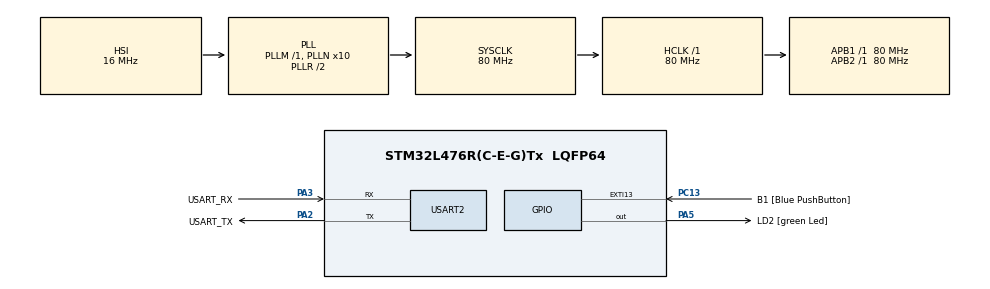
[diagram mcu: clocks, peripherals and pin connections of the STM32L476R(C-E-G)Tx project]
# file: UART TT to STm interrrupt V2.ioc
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Mcu.Family=STM32L4
Mcu.Name=STM32L476R(C-E-G)Tx
Mcu.Package=LQFP64
NVIC.PriorityGroup=NVIC_PRIORITYGROUP_4
PA13\ (JTMS-SWDIO).GPIO_Label=TMS
PA13\ (JTMS-SWDIO).Mode=Serial_Wire
PA13\ (JTMS-SWDIO).Signal=SYS_JTMS-SWDIO
PA14\ (JTCK-SWCLK).GPIO_Label=TCK
PA14\ (JTCK-SWCLK).Mode=Serial_Wire
PA14\ (JTCK-SWCLK).Signal=SYS_JTCK-SWCLK
PA2.GPIO_Label=USART_TX
PA2.GPIO_Mode=GPIO_MODE_AF_PP
PA2.GPIO_PuPd=GPIO_NOPULL
PA2.GPIO_Speed=GPIO_SPEED_FREQ_VERY_HIGH
PA2.Mode=Asynchronous
PA2.Signal=USART2_TX
PA3.GPIO_Label=USART_RX
PA3.GPIO_Mode=GPIO_MODE_AF_PP
PA3.GPIO_PuPd=GPIO_NOPULL
PA3.GPIO_Speed=GPIO_SPEED_FREQ_VERY_HIGH
PA3.Mode=Asynchronous
PA3.Signal=USART2_RX
PA5.GPIO_Label=LD2 [green Led]
PA5.GPIO_ModeDefaultOutputPP=GPIO_MODE_OUTPUT_PP
PA5.GPIO_PuPd=GPIO_NOPULL
PA5.GPIO_Speed=GPIO_SPEED_FREQ_LOW
PA5.Signal=GPIO_Output
PB3\ (JTDO-TRACESWO).GPIO_Label=SWO
PB3\ (JTDO-TRACESWO).Signal=SYS_JTDO-SWO
PC13.GPIO_Label=B1 [Blue PushButton]
PC13.GPIO_ModeDefaultEXTI=GPIO_MODE_IT_FALLING
PC13.GPIO_PuPd=GPIO_NOPULL
PC13.Signal=GPXTI13
PC14-OSC32_IN\ (PC14).Mode=LSE-External-Oscillator
PC14-OSC32_IN\ (PC14).Signal=RCC_OSC32_IN
PC15-OSC32_OUT\ (PC15).Mode=LSE-External-Oscillator
PC15-OSC32_OUT\ (PC15).Signal=RCC_OSC32_OUT
PH0-OSC_IN\ (PH0).Signal=RCC_OSC_IN
PH1-OSC_OUT\ (PH1).Signal=RCC_OSC_OUT
ProjectManager.HeapSize=0x200
ProjectManager.StackSize=0x400
ProjectManager.TargetToolchain=STM32CubeIDE
RCC.ADCFreq_Value=64000000
RCC.AHBFreq_Value=80000000
RCC.APB1Freq_Value=80000000
RCC.APB1TimFreq_Value=80000000
RCC.APB2Freq_Value=80000000
RCC.APB2TimFreq_Value=80000000
RCC.CortexFreq_Value=80000000
RCC.HCLKFreq_Value=80000000
RCC.HSE_VALUE=8000000
RCC.HSI_VALUE=16000000
RCC.MSI_VALUE=4000000
RCC.PLLN=10
RCC.PLLSourceVirtual=RCC_PLLSOURCE_HSI
RCC.PREFETCH_ENABLE=1
RCC.SYSCLKFreq_VALUE=80000000
RCC.SYSCLKSource=RCC_SYSCLKSOURCE_PLLCLK
RCC.USBFreq_Value=64000000
RCC.VCOOutputFreq_Value=160000000
USART2.VirtualMode-Asynchronous=VM_ASYNC
board=NUCLEO-L476RG

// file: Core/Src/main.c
/* USER CODE BEGIN Header */
/**
  ******************************************************************************
  * @file           : main.c
  * @brief          : Main program body
  ******************************************************************************
  * @attention
  *
  * Copyright (c) 2024 STMicroelectronics.
  * All rights reserved.
  *
  * This software is licensed under terms that can be found in the LICENSE file
  * in the root directory of this software component.
  * If no LICENSE file comes with this software, it is provided AS-IS.
  *
  ******************************************************************************
  */
/* USER CODE END Header */
#include "main.h"

UART_HandleTypeDef huart2;

/* USER CODE BEGIN PV */
int i = 0;
char buffer[100];
int len;

char Rx_indx, Rx_data[2], Rx_Buffer[100], Transfer_cplt;
/* USER CODE END PV */

void SystemClock_Config(void);
static void MX_GPIO_Init(void);
static void MX_USART2_UART_Init(void);

/* USER CODE BEGIN 0 */
void HAL_UART_RxCpltCallback(UART_HandleTypeDef *huart)
{
	uint8_t i;
	if (huart->Instance == USART2)	//current UART
		{
		if (Rx_indx==0) {for (i=0;i<100;i++) Rx_Buffer[i]=0;}	//clear Rx_Buffer before receiving new data

		if (Rx_data[0]!=13)	//if received data different from ascii 13 (enter)
			{
			Rx_Buffer[Rx_indx++]=Rx_data[0];	//add data to Rx_Buffer
			}
		else			//if received data = 13
			{
			Rx_indx=0;
			Transfer_cplt=1;//transfer complete, data is ready to read
			}

		HAL_UART_Receive_IT(&huart2, Rx_data, 1);	//activate UART receive interrupt every time
		}

}
/* USER CODE END 0 */

int main(void)
{

  /* MCU Configuration--------------------------------------------------------*/

  /* Reset of all peripherals, Initializes the Flash interface and the Systick. */
  HAL_Init();

  /* Configure the system clock */
  SystemClock_Config();

  /* Initialize all configured peripherals */
  MX_GPIO_Init();
  MX_USART2_UART_Init();
  /* USER CODE BEGIN 2 */
  HAL_UART_Receive_IT(&huart2, Rx_data, 1);
  /* USER CODE END 2 */

  /* Infinite loop */
  /* USER CODE BEGIN WHILE */
  while (1)
  {
	  i = 0;
			 if (Transfer_cplt != 0)
				{

				    //HAL_UART_Transmit(&huart1, "t", 1, 1000);
//					sprintf(buffer,"%s\r\n",Rx_Buffer);
					len=strlen(buffer);
					HAL_UART_Transmit(&huart2, buffer, len, 1000);
//					printf("\r\n %s", buffer);
					Transfer_cplt=0;		//reset transfer_complete variable
					HAL_Delay(500);

					i++;
				}

			  i = 1;

    /* USER CODE END WHILE */

  }
}

void SystemClock_Config(void)
{
  RCC_OscInitTypeDef RCC_OscInitStruct = {0};
  RCC_ClkInitTypeDef RCC_ClkInitStruct = {0};

  /** Configure the main internal regulator output voltage
  */
  if (HAL_PWREx_ControlVoltageScaling(PWR_REGULATOR_VOLTAGE_SCALE1) != HAL_OK)
  {
    Error_Handler();
  }

  /** Initializes the RCC Oscillators according to the specified parameters
  * in the RCC_OscInitTypeDef structure.
  */
  RCC_OscInitStruct.OscillatorType = RCC_OSCILLATORTYPE_HSI;
  RCC_OscInitStruct.HSIState = RCC_HSI_ON;
  RCC_OscInitStruct.HSICalibrationValue = RCC_HSICALIBRATION_DEFAULT;
  RCC_OscInitStruct.PLL.PLLState = RCC_PLL_ON;
  RCC_OscInitStruct.PLL.PLLSource = RCC_PLLSOURCE_HSI;
  RCC_OscInitStruct.PLL.PLLM = 1;
  RCC_OscInitStruct.PLL.PLLN = 10;
  RCC_OscInitStruct.PLL.PLLP = RCC_PLLP_DIV7;
  RCC_OscInitStruct.PLL.PLLQ = RCC_PLLQ_DIV2;
  RCC_OscInitStruct.PLL.PLLR = RCC_PLLR_DIV2;
  if (HAL_RCC_OscConfig(&RCC_OscInitStruct) != HAL_OK)
  {
    Error_Handler();
  }

  /** Initializes the CPU, AHB and APB buses clocks
  */
  RCC_ClkInitStruct.ClockType = RCC_CLOCKTYPE_HCLK|RCC_CLOCKTYPE_SYSCLK
                              |RCC_CLOCKTYPE_PCLK1|RCC_CLOCKTYPE_PCLK2;
  RCC_ClkInitStruct.SYSCLKSource = RCC_SYSCLKSOURCE_PLLCLK;
  RCC_ClkInitStruct.AHBCLKDivider = RCC_SYSCLK_DIV1;
  RCC_ClkInitStruct.APB1CLKDivider = RCC_HCLK_DIV1;
  RCC_ClkInitStruct.APB2CLKDivider = RCC_HCLK_DIV1;

  if (HAL_RCC_ClockConfig(&RCC_ClkInitStruct, FLASH_LATENCY_4) != HAL_OK)
  {
    Error_Handler();
  }
}

static void MX_USART2_UART_Init(void)
{

  huart2.Instance = USART2;
  huart2.Init.BaudRate = 115200;
  huart2.Init.WordLength = UART_WORDLENGTH_8B;
  huart2.Init.StopBits = UART_STOPBITS_1;
  huart2.Init.Parity = UART_PARITY_NONE;
  huart2.Init.Mode = UART_MODE_TX_RX;
  huart2.Init.HwFlowCtl = UART_HWCONTROL_NONE;
  huart2.Init.OverSampling = UART_OVERSAMPLING_16;
  huart2.Init.OneBitSampling = UART_ONE_BIT_SAMPLE_DISABLE;
  huart2.AdvancedInit.AdvFeatureInit = UART_ADVFEATURE_NO_INIT;
  if (HAL_UART_Init(&huart2) != HAL_OK)
  {
    Error_Handler();
  }

}

static void MX_GPIO_Init(void)
{
  GPIO_InitTypeDef GPIO_InitStruct = {0};

  /* GPIO Ports Clock Enable */
  __HAL_RCC_GPIOC_CLK_ENABLE();
  __HAL_RCC_GPIOH_CLK_ENABLE();
  __HAL_RCC_GPIOA_CLK_ENABLE();
  __HAL_RCC_GPIOB_CLK_ENABLE();

  /*Configure GPIO pin Output Level */
  HAL_GPIO_WritePin(LD2_GPIO_Port, LD2_Pin, GPIO_PIN_RESET);

  /*Configure GPIO pin : B1_Pin */
  GPIO_InitStruct.Pin = B1_Pin;
  GPIO_InitStruct.Mode = GPIO_MODE_IT_FALLING;
  GPIO_InitStruct.Pull = GPIO_NOPULL;
  HAL_GPIO_Init(B1_GPIO_Port, &GPIO_InitStruct);

  /*Configure GPIO pin : LD2_Pin */
  GPIO_InitStruct.Pin = LD2_Pin;
  GPIO_InitStruct.Mode = GPIO_MODE_OUTPUT_PP;
  GPIO_InitStruct.Pull = GPIO_NOPULL;
  GPIO_InitStruct.Speed = GPIO_SPEED_FREQ_LOW;
  HAL_GPIO_Init(LD2_GPIO_Port, &GPIO_InitStruct);

}

void Error_Handler(void)
{
  __disable_irq();
  while (1)
  {
  }
}
